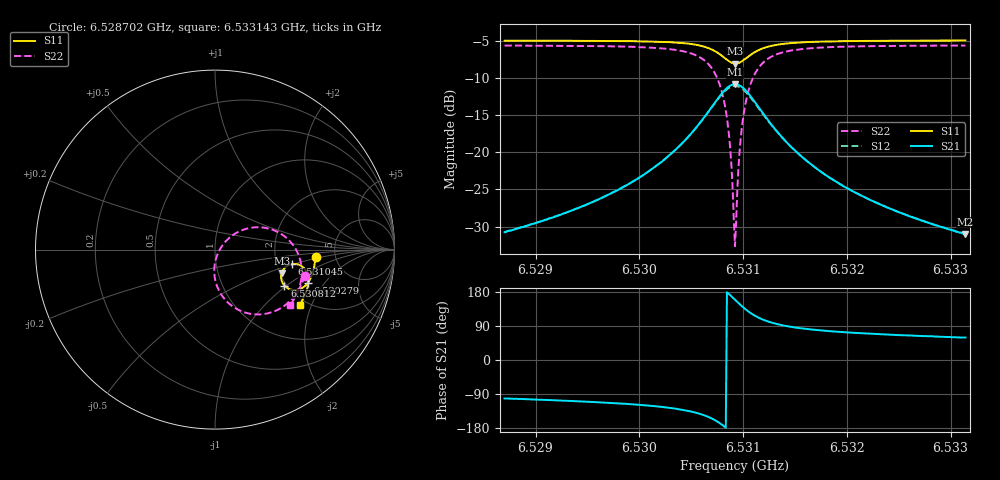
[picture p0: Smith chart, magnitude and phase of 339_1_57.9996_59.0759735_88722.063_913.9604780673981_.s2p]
#  HZ  S  RI  R  50.00
! Rohde & Schwarz Vector Network Analyzer
! Rohde-Schwarz,ZNB20-2Port,1311601062101988,3.16
! Created: UTC 3/21/2024, 1:05:25 AM
! freq[Hz]  re:S11  im:S11  re:S21  im:S21  re:S12  im:S12  re:S22  im:S22
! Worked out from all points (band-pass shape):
!   401 points, 6.528702 GHz to 6.533143 GHz, reference 50 ohm
!   highest |S21| = -10.86 dB at 6.530923 GHz (marker M1); lowest = -31.0 dB at 6.533143 GHz (marker M2)
!   |S21| within 3 dB of the highest: 6.530701 GHz to 6.531145 GHz (444.1 kHz wide, 0.0068 % of centre)
!   lowest |S11| = -8.1 dB at 6.530923 GHz (marker M3), VSWR 2.30, Z = 102 - j31.9 ohm
!   |S11| at or under -10 dB: nowhere
!   |S22| runs from -32.6 to -5.7 dB; largest |S21 - S12| = 0.011
!   S11 on the Smith chart (normalised r, x): 6.528702 GHz: 3.51, -0.42; 6.530279 GHz: 2.62, -1.38; 6.530812 GHz: 1.95, -0.97; 6.531045 GHz: 2.43, -0.48; 6.533143 GHz: 1.82, -1.65
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6.5287022e9  0.56 -0.0412  -0.0058 -0.0285  -0.00624 -0.0284  0.5006 -0.1452
6.529446e9  0.5512 -0.1022  -0.0145 -0.0409  -0.0152 -0.0404  0.4723 -0.2128
6.5301899e9  0.5248 -0.1736  -0.0456 -0.0702  -0.0474 -0.069  0.3961 -0.3058
6.5302787e9  0.518 -0.1838  -0.0548 -0.0761  -0.0569 -0.0747  0.3762 -0.3202
6.5304786e9  0.4941 -0.2083  -0.0904 -0.0913  -0.093 -0.0883  0.305 -0.3524
6.5306451e9  0.4544 -0.225  -0.1518 -0.0951  -0.154 -0.0893  0.1914 -0.3567
6.530745e9  0.416 -0.2206  -0.2117 -0.0719  -0.2115 -0.0635  0.0889 -0.3095
6.5308116e9  0.3871 -0.201  -0.2544 -0.0279  -0.2506 -0.0189  0.0224 -0.2286
6.5308672e9  0.3707 -0.1703  -0.2759 0.0318  -0.2683 0.0394  -0.00408 -0.1255
6.5309005e9  0.3685 -0.1473  -0.275 0.0742  -0.266 0.0797  0.00387 -0.0558
6.5309116e9  0.3696 -0.1395  -0.2721 0.0885  -0.2626 0.093  0.0112 -0.0328
6.5309227e9  0.3714 -0.1317  -0.2676 0.1024  -0.2579 0.1061  0.0209 -0.0106
6.5309338e9  0.374 -0.1243  -0.2615 0.1158  -0.2519 0.1186  0.0327 0.0104
6.5309449e9  0.3775 -0.1172  -0.2545 0.1286  -0.2449 0.1303  0.0464 0.0304
6.5309671e9  0.3863 -0.1045  -0.2369 0.1511  -0.2279 0.1515  0.0788 0.0647
6.5309893e9  0.3973 -0.0943  -0.2162 0.1694  -0.2079 0.1685  0.1159 0.0915
6.5310448e9  0.4286 -0.0807  -0.1597 0.1944  -0.1538 0.1918  0.2139 0.1234
6.5311225e9  0.4668 -0.0842  -0.0923 0.1922  -0.0893 0.1898  0.3271 0.1081
6.5312335e9  0.499 -0.1066  -0.0355 0.1629  -0.0341 0.1616  0.4194 0.0443
6.5316665e9  0.5203 -0.1824  0.0138 0.0806  0.0148 0.0803  0.4831 -0.1311
6.5324104e9  0.4999 -0.2552  0.0165 0.0386  0.0171 0.0385  0.4556 -0.2463
6.5331432e9  0.4717 -0.3085  0.0144 0.0243  0.0151 0.024  0.4197 -0.3085
